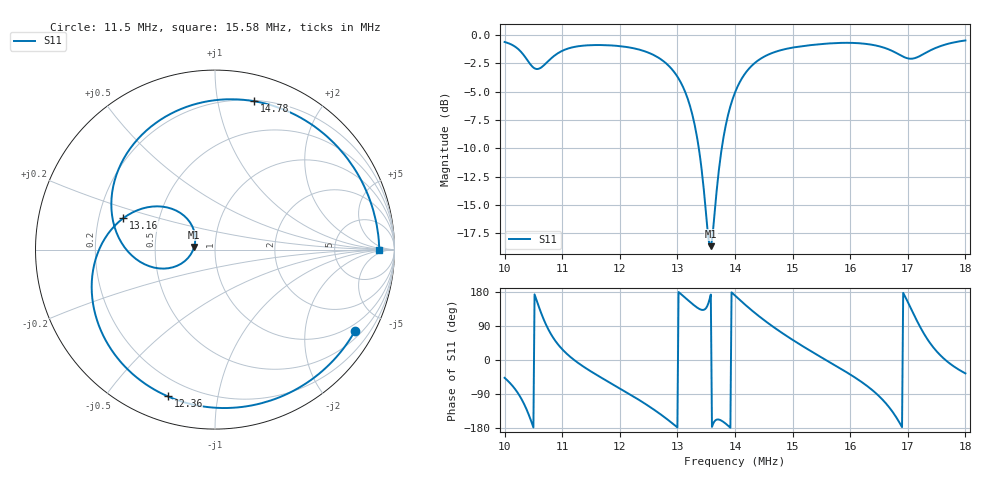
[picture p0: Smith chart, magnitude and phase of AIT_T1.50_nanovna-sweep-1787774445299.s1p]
! NanoVNA Web complex sweep
! Processing: original sample grid, no browser smoothing
# Hz S RI R 50
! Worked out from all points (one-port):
!   401 points, 10 MHz to 18 MHz, reference 50 ohm
!   lowest |S11| = -18.6 dB at 13.58 MHz (marker M1), VSWR 1.27, Z = 39.6 + j1.18 ohm
!   |S11| at or under -10 dB: 13.37 MHz to 13.77 MHz (398.2 kHz wide, 2.93 % of centre)
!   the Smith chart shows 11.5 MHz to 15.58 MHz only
!   S11 on the Smith chart (normalised r, x): 11.5 MHz: 0.73, -3.56; 12.36 MHz: 0.12, -0.72; 13.16 MHz: 0.31, +0.15; 14.78 MHz: 0.21, +1.28; 15.58 MHz: 23, -1
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1e7  0.634 -0.6826
1.028e7  -0.1383 -0.834
1.038e7  -0.5037 -0.6009
1.05e7  -0.718 -0.025
1.062e7  -0.4579 0.549
1.072e7  -0.0385 0.7498
1.1e7  0.7487 0.4051
1.15e7  0.779 -0.4548
1.2e7  0.232 -0.8624
1.236e7  -0.2628 -0.8178
1.272e7  -0.6358 -0.4505
1.3e7  -0.6547 -0.0227
1.316e7  -0.5108 0.1751
1.358e7  -0.1161 0.0147
1.378e7  -0.312 -0.1047
1.4e7  -0.5492 0.0956
1.43e7  -0.4716 0.5645
1.478e7  0.2179 0.8268
1.5e7  0.5273 0.7043
1.558e7  0.9157 -0.00304
1.6e7  0.7246 -0.5719
1.634e7  0.2497 -0.8739
1.658e7  -0.2669 -0.839
1.684e7  -0.7783 -0.2659
1.7e7  -0.7035 0.3563
1.722e7  0.0613 0.8081
1.748e7  0.7839 0.3909
1.8e7  0.772 -0.5469
